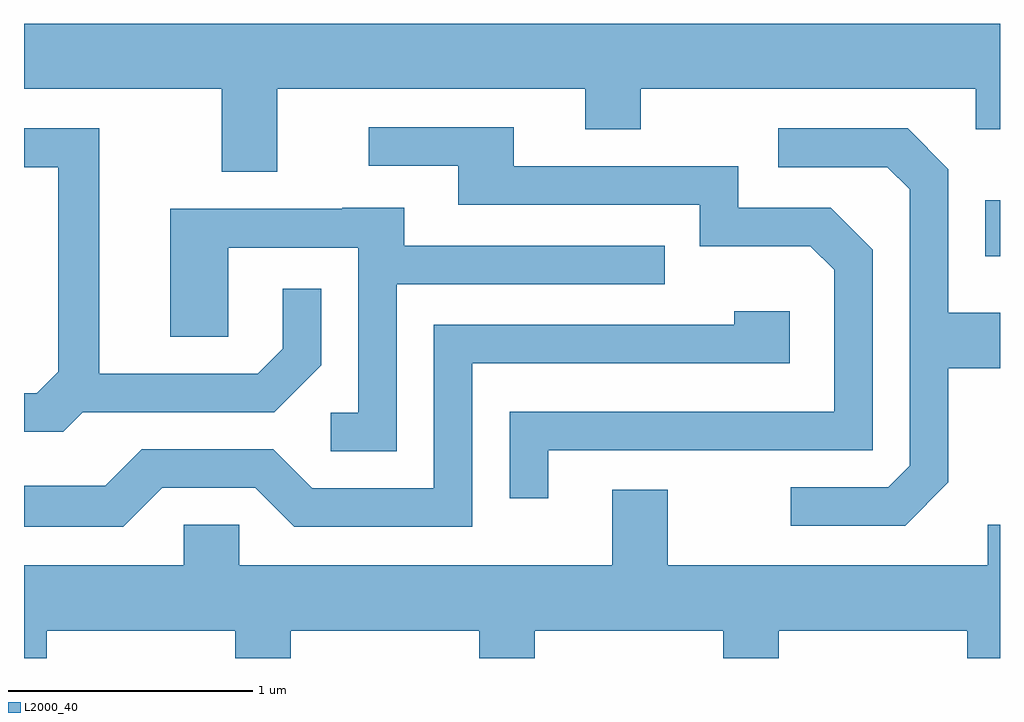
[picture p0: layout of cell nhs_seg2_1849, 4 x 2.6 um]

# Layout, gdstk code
import gdstk
lib = gdstk.Library(unit=1e-6, precision=1e-09)
def R(c, l, rs):  # rectangles x0, y0, x1, y1
    for r in rs: c.add(gdstk.rectangle(r[:2], r[2:], *l))
def P(c, l, *ps):  # polygons
    for p in ps: c.add(gdstk.Polygon(p, *l))
L2000_40 = (2000, 40)

nhs_seg2_1849 = lib.new_cell('nhs_seg2_1849')
R(nhs_seg2_1849, L2000_40, [(243.551,1005.451,243.611,1005.679)])
P(nhs_seg2_1849, L2000_40, [(240.649,1006.136),(241.911,1006.136),(241.911,1005.971),(242.139,1005.971),(242.139,1006.136),(243.511,1006.136),(243.511,1005.971),(243.611,1005.971),(243.611,1006.404),(239.611,1006.404),(239.611,1006.136),(240.421,1006.136),(240.421,1005.796),(240.649,1005.796)],
  [(241.759,1004.656),(243.089,1004.656),(243.089,1005.477),(242.917,1005.649),(242.539,1005.649),(242.539,1005.819),(241.619,1005.819),(241.619,1005.979),(241.023,1005.979),(241.023,1005.821),(241.391,1005.821),(241.391,1005.661),(242.381,1005.661),(242.381,1005.491),(242.834,1005.491),(242.931,1005.394),(242.931,1004.814),(241.601,1004.814),(241.601,1004.458),(241.759,1004.458)],
  [(239.852,1004.811),(240.637,1004.811),(240.829,1005.004),(240.829,1005.318),(240.671,1005.318),(240.671,1005.072),(240.569,1004.969),(239.919,1004.969),(239.919,1005.974),(239.611,1005.974),(239.611,1005.816),(239.751,1005.816),(239.751,1004.977),(239.664,1004.889),(239.611,1004.889),(239.611,1004.731),(239.772,1004.731)],
  [(243.399,1004.524),(243.399,1004.991),(243.611,1004.991),(243.611,1005.219),(243.399,1005.219),(243.399,1005.807),(243.232,1005.974),(242.703,1005.974),(242.703,1005.816),(243.149,1005.816),(243.241,1005.724),(243.241,1004.592),(243.154,1004.504),(242.753,1004.504),(242.753,1004.346),(243.222,1004.346)],
  [(241.139,1005.336),(242.238,1005.336),(242.238,1005.494),(241.169,1005.494),(241.169,1005.649),(240.915,1005.649),(240.915,1005.644),(240.211,1005.644),(240.211,1005.121),(240.449,1005.121),(240.449,1005.486),(240.981,1005.486),(240.981,1004.809),(240.868,1004.809),(240.868,1004.651),(241.139,1004.651)],
  [(240.177,1004.501),(240.559,1004.501),(240.719,1004.341),(241.449,1004.341),(241.449,1005.011),(242.749,1005.011),(242.749,1005.224),(242.521,1005.224),(242.521,1005.169),(241.291,1005.169),(241.291,1004.499),(240.792,1004.499),(240.632,1004.659),(240.094,1004.659),(239.944,1004.509),(239.611,1004.509),(239.611,1004.341),(240.017,1004.341)],
  [(239.704,1003.916),(240.476,1003.916),(240.476,1003.802),(240.704,1003.802),(240.704,1003.916),(241.476,1003.916),(241.476,1003.802),(241.704,1003.802),(241.704,1003.916),(242.476,1003.916),(242.476,1003.802),(242.704,1003.802),(242.704,1003.916),(243.476,1003.916),(243.476,1003.802),(243.611,1003.802),(243.611,1004.349),(243.561,1004.349),(243.561,1004.184),(242.249,1004.184),(242.249,1004.494),(242.021,1004.494),(242.021,1004.184),(240.494,1004.184),(240.494,1004.349),(240.266,1004.349),(240.266,1004.184),(239.611,1004.184),(239.611,1003.802),(239.704,1003.802)])

lib.write_gds('nhs_seg2_1849.gds')
